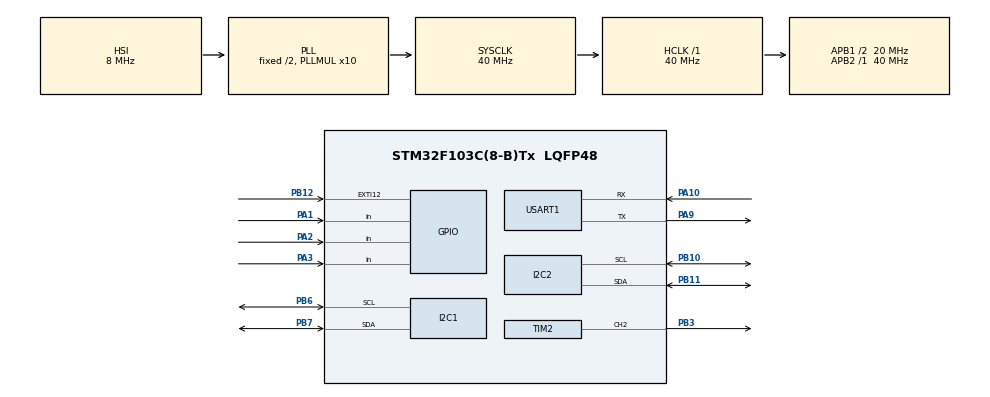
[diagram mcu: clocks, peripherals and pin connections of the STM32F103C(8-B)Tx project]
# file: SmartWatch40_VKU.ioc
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Mcu.Family=STM32F1
Mcu.Name=STM32F103C(8-B)Tx
Mcu.Package=LQFP48
NVIC.EXTI15_10_IRQn=true\:1\:0\:true\:false\:true\:true\:true\:true
NVIC.PriorityGroup=NVIC_PRIORITYGROUP_4
NVIC.USART1_IRQn=true\:2\:0\:true\:false\:true\:true\:true\:true
PA1.GPIO_PuPd=GPIO_PULLUP
PA1.Signal=GPIO_Input
PA10.Mode=Asynchronous
PA10.Signal=USART1_RX
PA13.Mode=Serial_Wire
PA13.Signal=SYS_JTMS-SWDIO
PA14.Mode=Serial_Wire
PA14.Signal=SYS_JTCK-SWCLK
PA2.GPIO_PuPd=GPIO_PULLUP
PA2.Signal=GPIO_Input
PA3.GPIO_PuPd=GPIO_PULLUP
PA3.Signal=GPIO_Input
PA9.Mode=Asynchronous
PA9.Signal=USART1_TX
PB10.Mode=I2C
PB10.Signal=I2C2_SCL
PB11.Mode=I2C
PB11.Signal=I2C2_SDA
PB12.GPIO_ModeDefaultEXTI=GPIO_MODE_IT_FALLING
PB12.GPIO_PuPd=GPIO_PULLUP
PB12.Signal=GPXTI12
PB3.Signal=S_TIM2_CH2
PB6.Mode=I2C
PB6.Signal=I2C1_SCL
PB7.Mode=I2C
PB7.Signal=I2C1_SDA
PD0-OSC_IN.Mode=HSE-External-Oscillator
PD0-OSC_IN.Signal=RCC_OSC_IN
PD1-OSC_OUT.Mode=HSE-External-Oscillator
PD1-OSC_OUT.Signal=RCC_OSC_OUT
ProjectManager.HeapSize=0x200
ProjectManager.StackSize=0x400
ProjectManager.TargetToolchain=STM32CubeIDE
RCC.AHBFreq_Value=40000000
RCC.APB1CLKDivider=RCC_HCLK_DIV2
RCC.APB1Freq_Value=20000000
RCC.APB1TimFreq_Value=40000000
RCC.APB2Freq_Value=40000000
RCC.APB2TimFreq_Value=40000000
RCC.HCLKFreq_Value=40000000
RCC.PLLMUL=RCC_PLL_MUL10
RCC.SYSCLKFreq_VALUE=40000000
RCC.SYSCLKSource=RCC_SYSCLKSOURCE_PLLCLK
RCC.USBFreq_Value=40000000
SH.S_TIM2_CH2.0=TIM2_CH2,PWM Generation2 CH2
TIM2.Channel-PWM\ Generation2\ CH2=TIM_CHANNEL_2
TIM2.Period=999
TIM2.Pulse-PWM\ Generation2\ CH2=500
USART1.VirtualMode=VM_ASYNC
VP_TIM2_VS_ClockSourceINT.Mode=Internal
board=custom

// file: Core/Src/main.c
/* USER CODE BEGIN Header */
/**
  ******************************************************************************
  * @file           : main.c
  * @brief          : Main program body
  ******************************************************************************
  * @attention
  *
  * Copyright (c) 2025 STMicroelectronics.
  * All rights reserved.
  *
  * This software is licensed under terms that can be found in the LICENSE file
  * in the root directory of this software component.
  * If no LICENSE file comes with this software, it is provided AS-IS.
  *
  ******************************************************************************
  */
/* USER CODE END Header */
#include "main.h"

/* USER CODE BEGIN Includes */

#include "LCD_I2C.h"
#include "DS3231.h"
#include "BUZZER.h"
#include "Custom_String.h"
#include <stdio.h>

/* USER CODE END Includes */

/* USER CODE BEGIN PTD */

typedef enum
{
	SUN = 1,
	MON,
	TUE,
	WED,
	THU,
	FRI,
	SAT
} Day;

typedef enum
{
	STATE_DISPLAY,
	STATE_SET_HOUR,
	STATE_SET_MINUTE,
	STATE_SET_SECOND,
	STATE_SET_YEAR,
	STATE_SET_MONTH,
	STATE_SET_DATE,
	STATE_SET_DAY,
	STATE_SET_HOUR_ALARM,
	STATE_SET_MINUTE_ALARM,
	STATE_SET_MODE_ALARM
} ClockState;

typedef enum
{
	OFF_ALARM,
	ON_ALARM
} ModeAlarm;

/* USER CODE END PTD */

/* USER CODE BEGIN PD */

#define PRESS_BUTTON			GPIO_PIN_RESET
#define RELEASE_BUTTON 			GPIO_PIN_SET

#define BUTTON_INCREASE 		GPIO_PIN_1
#define BUTTON_REDUCE 			GPIO_PIN_2
#define BUTTON_MODE 			GPIO_PIN_3

#define MAX_HOUR 	23
#define MIN_HOUR	0
#define MAX_MINUTE 	59
#define MIN_MINUTE	0
#define MAX_SECOND 	59
#define MIN_SECOND	0
#define MAX_YEAR 	99
#define MIN_YEAR 	0
#define MAX_MONTH	12
#define MIN_MONTH	1
#define MIN_DATE	1

#define TIMEOUT_ALARM 		60000
#define TIME_WAITING 		5000
#define ALARM_DELAY_TIME 	5000
#define BACKLIGH_WAITING 	10000

#define RX_BUFFER_SIZE 25

/* USER CODE END PD */

I2C_HandleTypeDef hi2c1;
I2C_HandleTypeDef hi2c2;

TIM_HandleTypeDef htim2;

UART_HandleTypeDef huart1;

/* USER CODE BEGIN PV */

// Create Object
DS3231_DateTime_t DS3231_Time;
DS3231_DateTime_t DS3231_Date;
DS3231_Alarm2_t DS3231_Alarm;

const char *dayOfWeek[] = {"---", "SUN", "MON", "TUE", "WED", "THU", "FRI", "SAT"};
const char *modeAlarm[] = {"OFF", "ON "};

const uint16_t alarmMelody1[] = {
    NOTE_C6, NOTE_C6, NOTE_G5, NOTE_G5,
    NOTE_A5, NOTE_A5, NOTE_G5,
    0,
    NOTE_F5, NOTE_F5, NOTE_E5, NOTE_E5,
    NOTE_D5, NOTE_D5, NOTE_C5
};

const uint16_t alarmMelody2[] = {
    NOTE_C6, NOTE_E6, NOTE_G6, NOTE_C7,
    NOTE_B6, NOTE_G6, NOTE_E6, NOTE_C6,
    NOTE_E6, NOTE_G6, NOTE_C7, NOTE_E7
};

// String constrain time and data display
char timeDisplay[17];
char dateDisplay[20];
char alarmDisplay[17];

uint8_t hourBuffer, minuteBuffer, secondBuffer;
Day dayBuffer;
uint8_t dateBuffer, monthBuffer, yearBuffer;
uint8_t hourAlarmBuffer, minuteAlarmBuffer;
uint8_t checkAlarmStatus;

uint8_t flagAlarm;
uint32_t alarmStartTime;

ClockState currentClock = STATE_DISPLAY;

uint8_t flagUpdateTimeOnInternet = 0;
uint8_t rxByte = 0;
char rxBuffer[RX_BUFFER_SIZE] = {0};
uint8_t rxBufferIndex = 0;

/* USER CODE END PV */

void SystemClock_Config(void);
static void MX_GPIO_Init(void);
static void MX_I2C1_Init(void);
static void MX_I2C2_Init(void);
static void MX_TIM2_Init(void);
static void MX_USART1_UART_Init(void);
/* USER CODE BEGIN PFP */

// ------- ALARM SOUND ----------
void playAlarmMelody1(void);
void playAlarmMelody2(void);
void alarmSound(void);

//------- Leap Year Handling --------
uint8_t LeapYearHandling(uint8_t year);
uint8_t daysInMonth(uint8_t month, uint16_t year);

//------- Mode Alarm Handling ----------
void ModeAlarmHandling(uint8_t checkAlarmStatus);

//------- State Handler Functions -------
void DisplayClockHandler(void);
void SetHourHandler(void);
void SetMinuteHandler(void);
void SetSecondHandler(void);
void SetYearHandler(void);
void SetMonthHandler(void);
void SetDateHandler(void);
void SetDayHandler(void);
void SetHourAlarmHandler(void);
void SetMinuteAlarmHandler(void);
void SetModeAlarmHandler(void);

// ------- Handle Clock State Machine --------
void HandleClockStateMachine(void);

// ------- Energy Saving Processing -----------
void EnergySavingProcessing(void);

// ------- Handling when there is an alarm -------
void AlarmProcessing(void);

// -------------------
void parseInternetTimeString(const char* rxBuffer, uint8_t* hour, uint8_t* minute, uint8_t* second, uint8_t* weekDay, uint8_t* date, uint8_t* month, uint8_t* year)
{
	char weekDayStr[4];
    uint8_t idx = 0;
    uint8_t weekdayIndex = 0;

    // Parse hour
    while ('0' <= rxBuffer[idx] && rxBuffer[idx] <= '9')
    {
        *hour = *hour * 10 + (rxBuffer[idx] - '0');
        idx++;
    }

    if (rxBuffer[idx] == ':') idx++;

    // Parse minute
    while ('0' <= rxBuffer[idx] && rxBuffer[idx] <= '9')
    {
        *minute = *minute * 10 + (rxBuffer[idx] - '0');
        idx++;
    }

    if (rxBuffer[idx] == ':') idx++;

    // Parse second
    while ('0' <= rxBuffer[idx] && rxBuffer[idx] <= '9')
    {
        *second = *second * 10 + (rxBuffer[idx] - '0');
        idx++;
    }

    if (rxBuffer[idx] == '-') idx++;

    // Parse weekday
    while (rxBuffer[idx] != '-' && rxBuffer[idx] != '\0' && weekdayIndex < 3)
    {
    	weekDayStr[weekdayIndex] = rxBuffer[idx];
        idx++;
        weekdayIndex++;
    }
    weekDayStr[weekdayIndex] = '\0';

    if (rxBuffer[idx] == '-') idx++;

    // Parse day
    while ('0' <= rxBuffer[idx] && rxBuffer[idx] <= '9')
    {
        *date = *date * 10 + (rxBuffer[idx] - '0');
        idx++;
    }

    if (rxBuffer[idx] == '/') idx++;

    // Parse month
    while ('0' <= rxBuffer[idx] && rxBuffer[idx] <= '9')
    {
        *month = *month * 10 + (rxBuffer[idx] - '0');
        idx++;
    }

    if (rxBuffer[idx] == '/') idx++;

    // Parse year
    while ('0' <= rxBuffer[idx] && rxBuffer[idx] <= '9')
    {
        *year = *year * 10 + (rxBuffer[idx] - '0');
        idx++;
    }

    if (strCompare(weekDayStr, "SUN")) *weekDay = SUN;
    else if (strCompare(weekDayStr, "MON")) *weekDay = MON;
    else if (strCompare(weekDayStr, "TUE")) *weekDay = TUE;
    else if (strCompare(weekDayStr, "WED")) *weekDay = WED;
    else if (strCompare(weekDayStr, "THU")) *weekDay = THU;
    else if (strCompare(weekDayStr, "FRI")) *weekDay = FRI;
    else if (strCompare(weekDayStr, "SAT")) *weekDay = SAT;
}

void TimeInternetUpdateHandling(void)
{
	while (flagUpdateTimeOnInternet)
	{
		LCD_backlight_on();

	    uint8_t netHour = 0, netMinute = 0, netSecond = 0;
	    uint8_t netWeekday = 0, netDate = 0, netMonth = 0, netYear = 0;

	    parseInternetTimeString(rxBuffer, &netHour, &netMinute, &netSecond, &netWeekday, &netDate, &netMonth, &netYear);

        DS3231_SetTime(&DS3231_Time, netHour, netMinute, netSecond);			// Chốt Giờ-phút-giây
        DS3231_SetDate(&DS3231_Date, netWeekday, netDate, netMonth, netYear);	// Chốt ngày-ngày-tháng-năm

	    LCD_goto_XY(1, 2);
	    LCD_send_string("TIME UPDATED");
	    LCD_goto_XY(2, 2);
	    LCD_send_string("SUCCESSFULLY");

	    HAL_Delay(2000);

	    LCD_clear_display();
	    HAL_Delay(40);

	    flagUpdateTimeOnInternet = 0;

	    break;
	}
}

/* USER CODE END PFP */

/* USER CODE BEGIN 0 */

// Perform an alarm if an interrupt signal occurs
void HAL_GPIO_EXTI_Callback(uint16_t GPIO_Pin)
{
	flagAlarm = 1;

	LCD_clear_display();
	alarmStartTime = HAL_GetTick();

    DS3231_ClearnFlagAlarm2(&hi2c1);	// CLear Flag Alarm DS3231
}

// Nhận UART
void HAL_UART_RxCpltCallback(UART_HandleTypeDef *huart)
{
    if (rxByte != '\r' && rxByte != '\n') // Loại bỏ ký tự '\r' và '\n'
    {
        rxBuffer[rxBufferIndex] = rxByte;
        rxBufferIndex++;

        if (rxBufferIndex == RX_BUFFER_SIZE)
        {
            rxBufferIndex = 0;
        }
    }
    else if (rxByte == '\r')
    {
        rxBuffer[rxBufferIndex] = '\0'; // Kết thúc chuỗi khi nhận '\r'

        rxBufferIndex = 0; // Reset chỉ số bộ đệm

        flagUpdateTimeOnInternet = 1; // nhận chuỗi đủ rồi bật cờ update lên
        LCD_clear_display(); // Xóa màn hình
    }

    // Tiếp tục nhận byte tiếp theo
    HAL_UART_Receive_IT(&huart1, &rxByte, 1);
}

/* USER CODE END 0 */

int main(void)
{

  /* MCU Configuration--------------------------------------------------------*/

  /* Reset of all peripherals, Initializes the Flash interface and the Systick. */
  HAL_Init();

  /* Configure the system clock */
  SystemClock_Config();

  /* Initialize all configured peripherals */
  MX_GPIO_Init();
  MX_I2C1_Init();
  MX_I2C2_Init();
  MX_TIM2_Init();
  MX_USART1_UART_Init();
  /* USER CODE BEGIN 2 */
  HAL_Delay(2000); // Cho LCD hoặc DS3231 ổn định nguồn

  HAL_TIM_PWM_Start(&htim2, TIM_CHANNEL_2);

  HAL_UART_Receive_IT(&huart1, &rxByte, 1);

  LCD_Init();
  LCD_backlight_on();
  HAL_Delay(500);

  DS3231_DateTime_Init(&hi2c1, &DS3231_Time);
  DS3231_DateTime_Init(&hi2c1, &DS3231_Date);
  DS3231_Alarm2_Init(&hi2c1, &DS3231_Alarm);
  HAL_Delay(500);
  // Get current time in DS3231 for setting
  DS3231_GetTime(&DS3231_Time);
  hourBuffer = DS3231_Time.Hour;
  minuteBuffer = DS3231_Time.Minutes;
  secondBuffer = DS3231_Time.Seconds;

  // Get current date in DS3231 for setting
  DS3231_GetDate(&DS3231_Date);
  dayBuffer = DS3231_Date.Day;
  dateBuffer = DS3231_Date.Date;
  monthBuffer = DS3231_Date.Month;
  yearBuffer = DS3231_Date.Year;

  // Get current alarm in DS3231 for setting
  DS3231_GetAlarm2(&DS3231_Alarm);
  hourAlarmBuffer = DS3231_Alarm.Hour;
  minuteAlarmBuffer = DS3231_Alarm.Minutes;

  // Get current mode alarm in DS3231 for setting
  checkAlarmStatus = DS3231_CheckModeAlarm2(&hi2c1);

  /* USER CODE END 2 */

  /* Infinite loop */
  while (1)
  {

    /* USER CODE BEGIN 3 */

	  HandleClockStateMachine();

	  HAL_Delay(100);

	  EnergySavingProcessing();

	  AlarmProcessing();

	  TimeInternetUpdateHandling();

  }
  /* USER CODE END 3 */
}

void SystemClock_Config(void)
{
  RCC_OscInitTypeDef RCC_OscInitStruct = {0};
  RCC_ClkInitTypeDef RCC_ClkInitStruct = {0};

  /** Initializes the RCC Oscillators according to the specified parameters
  * in the RCC_OscInitTypeDef structure.
  */
  RCC_OscInitStruct.OscillatorType = RCC_OSCILLATORTYPE_HSI;
  RCC_OscInitStruct.HSIState = RCC_HSI_ON;
  RCC_OscInitStruct.HSICalibrationValue = RCC_HSICALIBRATION_DEFAULT;
  RCC_OscInitStruct.PLL.PLLState = RCC_PLL_ON;
  RCC_OscInitStruct.PLL.PLLSource = RCC_PLLSOURCE_HSI_DIV2;
  RCC_OscInitStruct.PLL.PLLMUL = RCC_PLL_MUL10;
  if (HAL_RCC_OscConfig(&RCC_OscInitStruct) != HAL_OK)
  {
    Error_Handler();
  }

  /** Initializes the CPU, AHB and APB buses clocks
  */
  RCC_ClkInitStruct.ClockType = RCC_CLOCKTYPE_HCLK|RCC_CLOCKTYPE_SYSCLK
                              |RCC_CLOCKTYPE_PCLK1|RCC_CLOCKTYPE_PCLK2;
  RCC_ClkInitStruct.SYSCLKSource = RCC_SYSCLKSOURCE_PLLCLK;
  RCC_ClkInitStruct.AHBCLKDivider = RCC_SYSCLK_DIV1;
  RCC_ClkInitStruct.APB1CLKDivider = RCC_HCLK_DIV2;
  RCC_ClkInitStruct.APB2CLKDivider = RCC_HCLK_DIV1;

  if (HAL_RCC_ClockConfig(&RCC_ClkInitStruct, FLASH_LATENCY_1) != HAL_OK)
  {
    Error_Handler();
  }
}

static void MX_I2C1_Init(void)
{

  hi2c1.Instance = I2C1;
  hi2c1.Init.ClockSpeed = 100000;
  hi2c1.Init.DutyCycle = I2C_DUTYCYCLE_2;
  hi2c1.Init.OwnAddress1 = 0;
  hi2c1.Init.AddressingMode = I2C_ADDRESSINGMODE_7BIT;
  hi2c1.Init.DualAddressMode = I2C_DUALADDRESS_DISABLE;
  hi2c1.Init.OwnAddress2 = 0;
  hi2c1.Init.GeneralCallMode = I2C_GENERALCALL_DISABLE;
  hi2c1.Init.NoStretchMode = I2C_NOSTRETCH_DISABLE;
  if (HAL_I2C_Init(&hi2c1) != HAL_OK)
  {
    Error_Handler();
  }

}

static void MX_I2C2_Init(void)
{

  hi2c2.Instance = I2C2;
  hi2c2.Init.ClockSpeed = 100000;
  hi2c2.Init.DutyCycle = I2C_DUTYCYCLE_2;
  hi2c2.Init.OwnAddress1 = 0;
  hi2c2.Init.AddressingMode = I2C_ADDRESSINGMODE_7BIT;
  hi2c2.Init.DualAddressMode = I2C_DUALADDRESS_DISABLE;
  hi2c2.Init.OwnAddress2 = 0;
  hi2c2.Init.GeneralCallMode = I2C_GENERALCALL_DISABLE;
  hi2c2.Init.NoStretchMode = I2C_NOSTRETCH_DISABLE;
  if (HAL_I2C_Init(&hi2c2) != HAL_OK)
  {
    Error_Handler();
  }

}

static void MX_TIM2_Init(void)
{

  TIM_ClockConfigTypeDef sClockSourceConfig = {0};
  TIM_MasterConfigTypeDef sMasterConfig = {0};
  TIM_OC_InitTypeDef sConfigOC = {0};

  htim2.Instance = TIM2;
  htim2.Init.Prescaler = 0;
  htim2.Init.CounterMode = TIM_COUNTERMODE_UP;
  htim2.Init.Period = 999;
  htim2.Init.ClockDivision = TIM_CLOCKDIVISION_DIV1;
  htim2.Init.AutoReloadPreload = TIM_AUTORELOAD_PRELOAD_DISABLE;
  if (HAL_TIM_Base_Init(&htim2) != HAL_OK)
  {
    Error_Handler();
  }
  sClockSourceConfig.ClockSource = TIM_CLOCKSOURCE_INTERNAL;
  if (HAL_TIM_ConfigClockSource(&htim2, &sClockSourceConfig) != HAL_OK)
  {
    Error_Handler();
  }
  if (HAL_TIM_PWM_Init(&htim2) != HAL_OK)
  {
    Error_Handler();
  }
  sMasterConfig.MasterOutputTrigger = TIM_TRGO_RESET;
  sMasterConfig.MasterSlaveMode = TIM_MASTERSLAVEMODE_DISABLE;
  if (HAL_TIMEx_MasterConfigSynchronization(&htim2, &sMasterConfig) != HAL_OK)
  {
    Error_Handler();
  }
  sConfigOC.OCMode = TIM_OCMODE_PWM1;
  sConfigOC.Pulse = 700;
  sConfigOC.OCPolarity = TIM_OCPOLARITY_HIGH;
  sConfigOC.OCFastMode = TIM_OCFAST_DISABLE;
  if (HAL_TIM_PWM_ConfigChannel(&htim2, &sConfigOC, TIM_CHANNEL_2) != HAL_OK)
  {
    Error_Handler();
  }
  HAL_TIM_MspPostInit(&htim2);

}

static void MX_USART1_UART_Init(void)
{

  huart1.Instance = USART1;
  huart1.Init.BaudRate = 115200;
  huart1.Init.WordLength = UART_WORDLENGTH_8B;
  huart1.Init.StopBits = UART_STOPBITS_1;
  huart1.Init.Parity = UART_PARITY_NONE;
  huart1.Init.Mode = UART_MODE_TX_RX;
  huart1.Init.HwFlowCtl = UART_HWCONTROL_NONE;
  huart1.Init.OverSampling = UART_OVERSAMPLING_16;
  if (HAL_UART_Init(&huart1) != HAL_OK)
  {
    Error_Handler();
  }

}

static void MX_GPIO_Init(void)
{
  GPIO_InitTypeDef GPIO_InitStruct = {0};

  /* GPIO Ports Clock Enable */
  __HAL_RCC_GPIOD_CLK_ENABLE();
  __HAL_RCC_GPIOA_CLK_ENABLE();
  __HAL_RCC_GPIOB_CLK_ENABLE();

  /*Configure GPIO pins : PA1 PA2 PA3 */
  GPIO_InitStruct.Pin = GPIO_PIN_1|GPIO_PIN_2|GPIO_PIN_3;
  GPIO_InitStruct.Mode = GPIO_MODE_INPUT;
  GPIO_InitStruct.Pull = GPIO_PULLUP;
  HAL_GPIO_Init(GPIOA, &GPIO_InitStruct);

  /*Configure GPIO pin : PB12 */
  GPIO_InitStruct.Pin = GPIO_PIN_12;
  GPIO_InitStruct.Mode = GPIO_MODE_IT_FALLING;
  GPIO_InitStruct.Pull = GPIO_PULLUP;
  HAL_GPIO_Init(GPIOB, &GPIO_InitStruct);

  /* EXTI interrupt init*/
  HAL_NVIC_SetPriority(EXTI15_10_IRQn, 1, 0);
  HAL_NVIC_EnableIRQ(EXTI15_10_IRQn);

}

/* USER CODE BEGIN 4 */

/**
  * @brief Alarm tone storage
  */
void playAlarmMelody1(void) {
  for (uint8_t i = 0; i < sizeof(alarmMelody1) / sizeof(alarmMelody1[0]); i++)
  {
    playTone(alarmMelody1[i], &htim2);
    HAL_Delay(100);
  }
  noTone(&htim2);
}
void playAlarmMelody2(void)
{
	for(uint8_t i = 0; i < sizeof(alarmMelody2) / sizeof(alarmMelody2[0]); i++)
	{
		playTone(alarmMelody2[i], &htim2);
		HAL_Delay(150);
	}
	noTone(&htim2);
}
void alarmSound(void)
{
	  playAlarmMelody1();
	  HAL_Delay(100);
	  playAlarmMelody1();
	  HAL_Delay(100);
	  playAlarmMelody2();
}

/**
  * @brief Determines the number of days in a given month and year.
  *        - Returns 31 for months with 31 days (January, March, May, July, August, October, December).
  *        - Returns 30 for months with 30 days (April, June, September, November).
  *        - Returns 28 or 29 for February depending on whether the year is a leap year.
  * @param month: The month (1-12).
  * @param year: The year (e.g., 2023).
  * @retval The number of days in the specified month.
  */
uint8_t LeapYearHandling(uint8_t year)
{
	return ((year % 4 == 0 && year % 100 != 0) || (year % 400 == 0));
}
uint8_t daysInMonth(uint8_t month, uint16_t year)
{
    switch (month)
    {
        case 1: case 3: case 5: case 7: case 8: case 10: case 12:
            return 31;
        case 4: case 6: case 9: case 11:
            return 30;
        case 2:
            return LeapYearHandling(year) ? 29 : 28;
        default:
            return 0;
    }
}

/**
  * @brief Enable or disable the alarm mode of the DS3231 clock.
  * @param checkAlarmStatus: Alarm control status.
  * 		- ON_ALARM: Turn on Alarm2.
  * 		- OFF_ALARM: Turn off Alarm2.
  */
void ModeAlarmHandling(uint8_t checkAlarmStatus)
{
	if (checkAlarmStatus == ON_ALARM)
	{
		DS3231_EnOrDisAlarm2(&hi2c1, EnableAlarm2);
	}
	else
	{
		DS3231_EnOrDisAlarm2(&hi2c1, DisableAlarm2);
	}
}

/**
  * @brief Display Hour - Minute - Second & Day - Date - Month - Year in the clock state machine.
  * 		- Get data form DS3231
  */
void DisplayClockHandler(void)
{
	DS3231_GetTime(&DS3231_Time);
	sprintf(timeDisplay, "%02d:%02d:%02d", DS3231_Time.Hour, DS3231_Time.Minutes, DS3231_Time.Seconds);
	LCD_goto_XY(1, 4);
	LCD_send_string(timeDisplay);

	DS3231_GetDate(&DS3231_Date);
	sprintf(dateDisplay, "%s %02d/%02d/20%02d", dayOfWeek[DS3231_Date.Day], DS3231_Date.Date, DS3231_Date.Month, DS3231_Date.Year);
	LCD_goto_XY(2, 1);
	LCD_send_string(dateDisplay);
}

/**
  * @brief Handles the Hour adjustment in the clock state machine.
  * 		- Press BUTTON_INCREASE the Hour value will increase by 1
  * 		- Press BUTTON_REDUCE the Hour value will reduce by 1
  * 		- The Hour value 0 -> 23
  */
void SetHourHandler(void)
{
    sprintf(timeDisplay, "%02d:%02d:%02d", hourBuffer, minuteBuffer, secondBuffer);
    LCD_goto_XY(1, 4);
    LCD_send_string(timeDisplay);

	LCD_goto_XY(2, 1);
	sprintf(dateDisplay, "20%02d/%02d/%02d %s", yearBuffer, monthBuffer, dateBuffer, dayOfWeek[dayBuffer]);
	LCD_send_string(dateDisplay);

    LCD_goto_XY(1, 5);
    LCD_blink_cursor_on();

    if (HAL_GPIO_ReadPin(GPIOA, BUTTON_INCREASE) == PRESS_BUTTON)
    {
        HAL_Delay(40);
        while(HAL_GPIO_ReadPin(GPIOA, BUTTON_INCREASE) == PRESS_BUTTON);

        hourBuffer++;
        if (hourBuffer > MAX_HOUR)
        {
            hourBuffer = MIN_HOUR;
        }
        LCD_blink_cursor_off();
    }

    if (HAL_GPIO_ReadPin(GPIOA, BUTTON_REDUCE) == PRESS_BUTTON)
    {
        HAL_Delay(40);
        while(HAL_GPIO_ReadPin(GPIOA, BUTTON_REDUCE) == PRESS_BUTTON);

        if (hourBuffer == MIN_HOUR)
        {
        	hourBuffer = MAX_HOUR;
        }
        else
        {
        	hourBuffer--;
        }

        LCD_blink_cursor_off();
    }
}

/**
  * @brief Handles the Minute adjustment in the clock state machine.
  * 		- Press BUTTON_INCREASE the Minute value will increase by 1
  * 		- Press BUTTON_REDUCE the Minute value will reduce by 1
  * 		- The Minute value 0 -> 59
  */
void SetMinuteHandler(void)
{
    sprintf(timeDisplay, "%02d:%02d:%02d", hourBuffer, minuteBuffer, secondBuffer);
    LCD_goto_XY(1, 4);
    LCD_send_string(timeDisplay);

	LCD_goto_XY(2, 1);
	sprintf(dateDisplay, "20%02d/%02d/%02d %s", yearBuffer, monthBuffer, dateBuffer, dayOfWeek[dayBuffer]);
	LCD_send_string(dateDisplay);

    LCD_goto_XY(1, 8);
    LCD_blink_cursor_on();

    if (HAL_GPIO_ReadPin(GPIOA, BUTTON_INCREASE) == PRESS_BUTTON)
    {
        HAL_Delay(40);
        while(HAL_GPIO_ReadPin(GPIOA, BUTTON_INCREASE) == PRESS_BUTTON);

        minuteBuffer++;
        if (minuteBuffer > MAX_MINUTE)
        {
        	minuteBuffer = MIN_MINUTE;
        }
        LCD_blink_cursor_off();
    }

    if (HAL_GPIO_ReadPin(GPIOA, BUTTON_REDUCE) == PRESS_BUTTON)
    {
        HAL_Delay(40);
        while(HAL_GPIO_ReadPin(GPIOA, BUTTON_REDUCE) == PRESS_BUTTON);
    	if (minuteBuffer == MIN_MINUTE)
    	{
    		minuteBuffer = MAX_MINUTE;
    	}
    	else
    	{
    		minuteBuffer--;
    	}

    	LCD_blink_cursor_off();
    }
}

/**
  * @brief Handles the Second adjustment in the clock state machine.
  * 		- Press BUTTON_INCREASE the Second value will increase by 1
  * 		- Press BUTTON_REDUCE the Second value will reduce by 1
  * 		- The Second value 0 -> 59
  */
void SetSecondHandler(void)
{
    sprintf(timeDisplay, "%02d:%02d:%02d", hourBuffer, minuteBuffer, secondBuffer);
    LCD_goto_XY(1, 4);
    LCD_send_string(timeDisplay);

	LCD_goto_XY(2, 1);
	sprintf(dateDisplay, "20%02d/%02d/%02d %s", yearBuffer, monthBuffer, dateBuffer, dayOfWeek[dayBuffer]);
	LCD_send_string(dateDisplay);

    LCD_goto_XY(1, 11);
    LCD_blink_cursor_on();

    if (HAL_GPIO_ReadPin(GPIOA, BUTTON_INCREASE) == PRESS_BUTTON)
    {
        HAL_Delay(40);
        while(HAL_GPIO_ReadPin(GPIOA, BUTTON_INCREASE) == PRESS_BUTTON);

        secondBuffer++;
        if (secondBuffer > MAX_SECOND)
        {
        	secondBuffer = MIN_SECOND;
        }
        LCD_blink_cursor_off();
    }

    if (HAL_GPIO_ReadPin(GPIOA, BUTTON_REDUCE) == PRESS_BUTTON)
    {
        HAL_Delay(40);
        while(HAL_GPIO_ReadPin(GPIOA, BUTTON_REDUCE) == PRESS_BUTTON);
    	if (secondBuffer == MIN_SECOND)
    	{
    		secondBuffer = MAX_SECOND;
    	}
    	else
    	{
    		secondBuffer--;
    	}

    	LCD_blink_cursor_off();
    }
}

/**
  * @brief Handles the Year adjustment in the clock state machine.
  * 		- Press BUTTON_INCREASE the Year value will increase by 1
  * 		- Press BUTTON_REDUCE the Year value will reduce by 1
  * 		- The Year value 0 -> 99 (+ 2000)
  */
void SetYearHandler(void)
{
    sprintf(timeDisplay, "%02d:%02d:%02d", hourBuffer, minuteBuffer, secondBuffer);
    LCD_goto_XY(1, 4);
    LCD_send_string(timeDisplay);

	LCD_goto_XY(2, 1);
	sprintf(dateDisplay, "20%02d/%02d/%02d %s", yearBuffer, monthBuffer, dateBuffer, dayOfWeek[dayBuffer]);
	LCD_send_string(dateDisplay);

	LCD_goto_XY(2, 4);
	LCD_blink_cursor_on();

    if (HAL_GPIO_ReadPin(GPIOA, BUTTON_INCREASE) == PRESS_BUTTON)
    {
        HAL_Delay(40);
        while(HAL_GPIO_ReadPin(GPIOA, BUTTON_INCREASE) == PRESS_BUTTON);

        yearBuffer++;
        if (yearBuffer > MAX_YEAR)
        {
        	yearBuffer = MIN_YEAR;
        }
        LCD_blink_cursor_off();
    }

    if (HAL_GPIO_ReadPin(GPIOA, BUTTON_REDUCE) == PRESS_BUTTON)
    {
        HAL_Delay(40);
        while(HAL_GPIO_ReadPin(GPIOA, BUTTON_REDUCE) == PRESS_BUTTON);
    	if (yearBuffer == MIN_YEAR)
    	{
    		yearBuffer = MAX_YEAR;
    	}
    	else
    	{
    		yearBuffer--;
    	}

    	LCD_blink_cursor_off();
    }
}

/**
  * @brief Handles the Month adjustment in the clock state machine.
  * 		- Press BUTTON_INCREASE the Month value will increase by 1
  * 		- Press BUTTON_REDUCE the Month value will reduce by 1
  * 		- The Month value 1 -> 12
  */
void SetMonthHandler(void)
{
    sprintf(timeDisplay, "%02d:%02d:%02d", hourBuffer, minuteBuffer, secondBuffer);
    LCD_goto_XY(1, 4);
    LCD_send_string(timeDisplay);

	LCD_goto_XY(2, 1);
	sprintf(dateDisplay, "20%02d/%02d/%02d %s", yearBuffer, monthBuffer, dateBuffer, dayOfWeek[dayBuffer]);
	LCD_send_string(dateDisplay);

	LCD_goto_XY(2, 7);
	LCD_blink_cursor_on();

    if (HAL_GPIO_ReadPin(GPIOA, BUTTON_INCREASE) == PRESS_BUTTON)
    {
        HAL_Delay(40);
        while(HAL_GPIO_ReadPin(GPIOA, BUTTON_INCREASE) == PRESS_BUTTON);

        monthBuffer++;
        if (monthBuffer > MAX_MONTH)
        {
        	monthBuffer = MIN_MONTH;
        }

        LCD_blink_cursor_off();
    }

    if (HAL_GPIO_ReadPin(GPIOA, BUTTON_REDUCE) == PRESS_BUTTON)
    {
        HAL_Delay(40);
        while(HAL_GPIO_ReadPin(GPIOA, BUTTON_REDUCE) == PRESS_BUTTON);
    	if (monthBuffer == MIN_MONTH)
    	{
    		monthBuffer = MAX_MONTH;
    	}
    	else
    	{
    		monthBuffer--;
    	}
    	LCD_blink_cursor_off();
    }
}

/**
  * @brief Handles the Date adjustment in the clock state machine.
  * 		- Press BUTTON_INCREASE the Date value will increase by 1
  * 		- Press BUTTON_REDUCE the Date value will reduce by 1
  * 		- The Date value 1 -> 31 or 30 or 28 or 29
  */
void SetDateHandler(void)
{
    sprintf(timeDisplay, "%02d:%02d:%02d", hourBuffer, minuteBuffer, secondBuffer);
    LCD_goto_XY(1, 4);
    LCD_send_string(timeDisplay);

	LCD_goto_XY(2, 1);
	sprintf(dateDisplay, "20%02d/%02d/%02d %s", yearBuffer, monthBuffer, dateBuffer, dayOfWeek[dayBuffer]);
	LCD_send_string(dateDisplay);

	LCD_goto_XY(2, 10);
	LCD_blink_cursor_on();

	uint8_t MAX_DATE = daysInMonth(monthBuffer, 2000 + yearBuffer);

	if (HAL_GPIO_ReadPin(GPIOA, BUTTON_INCREASE) == PRESS_BUTTON)
	{
		HAL_Delay(40);
		while (HAL_GPIO_ReadPin(GPIOA, BUTTON_INCREASE) == PRESS_BUTTON);

		dateBuffer++;
		if (dateBuffer > MAX_DATE)
		{
			dateBuffer = MIN_DATE;
		}

		LCD_blink_cursor_off();
	}

	if (HAL_GPIO_ReadPin(GPIOA, BUTTON_REDUCE) == PRESS_BUTTON)
	{
		HAL_Delay(40);
		while (HAL_GPIO_ReadPin(GPIOA, BUTTON_REDUCE) == PRESS_BUTTON);

		if (dateBuffer == MIN_DATE)
		{
			dateBuffer = MAX_DATE;
		}
		else
		{
			dateBuffer--;
		}

		LCD_blink_cursor_off();
	}
}

/**
  * @brief Handles the Day adjustment in the clock state machine.
  * 		- Press BUTTON_INCREASE the Day value will increase by 1
  * 		- Press BUTTON_REDUCE the Day value will reduce by 1
  * 		- The Day value in Day (enum)
  */
void SetDayHandler(void)
{
    sprintf(timeDisplay, "%02d:%02d:%02d", hourBuffer, minuteBuffer, secondBuffer);
    LCD_goto_XY(1, 4);
    LCD_send_string(timeDisplay);

	LCD_goto_XY(2, 1);
	sprintf(dateDisplay, "20%02d/%02d/%02d %s", yearBuffer, monthBuffer, dateBuffer, dayOfWeek[dayBuffer]);
	LCD_send_string(dateDisplay);

	LCD_goto_XY(2, 14);
	LCD_blink_cursor_on();

    if (HAL_GPIO_ReadPin(GPIOA, BUTTON_INCREASE) == PRESS_BUTTON)
    {
        HAL_Delay(40);
        while(HAL_GPIO_ReadPin(GPIOA, BUTTON_INCREASE) == PRESS_BUTTON);

        dayBuffer++;
        if (dayBuffer > SAT)
        {
        	dayBuffer = SUN;
        }

        LCD_blink_cursor_off();
    }

    if (HAL_GPIO_ReadPin(GPIOA, BUTTON_REDUCE) == PRESS_BUTTON)
    {
        HAL_Delay(40);
        while(HAL_GPIO_ReadPin(GPIOA, BUTTON_REDUCE) == PRESS_BUTTON);
    	if (dayBuffer == SUN)
    	{
    		dayBuffer = SAT;
    	}
    	else
    	{
    		dayBuffer--;
    	}
    	LCD_blink_cursor_off();
    }
}

/**
  * @brief Handles the Alarm Hour adjustment in the clock state machine.
  * 		- Press BUTTON_INCREASE the Alarm Hour value will increase by 1
  * 		- Press BUTTON_REDUCE the Alarm Hour value will reduce by 1
  * 		- The Hour value 0 -> 23
  */
void SetHourAlarmHandler(void)
{
	LCD_goto_XY(1, 3);
	LCD_send_string("ALARM MODE");
	LCD_goto_XY(2, 3);
	sprintf(alarmDisplay, "%02d:%02d  %s", hourAlarmBuffer, minuteAlarmBuffer, modeAlarm[checkAlarmStatus]);
	LCD_send_string(alarmDisplay);

    LCD_goto_XY(2, 4);
    LCD_blink_cursor_on();

    if (HAL_GPIO_ReadPin(GPIOA, BUTTON_INCREASE) == PRESS_BUTTON)
    {
        HAL_Delay(40);
        while(HAL_GPIO_ReadPin(GPIOA, BUTTON_INCREASE) == PRESS_BUTTON);

        hourAlarmBuffer++;
        if (hourAlarmBuffer > MAX_HOUR)
        {
        	hourAlarmBuffer = MIN_HOUR;
        }
        LCD_blink_cursor_off();
    }

    if (HAL_GPIO_ReadPin(GPIOA, BUTTON_REDUCE) == PRESS_BUTTON)
    {
        HAL_Delay(40);
        while(HAL_GPIO_ReadPin(GPIOA, BUTTON_REDUCE) == PRESS_BUTTON);

        if (hourAlarmBuffer == MIN_HOUR)
        {
        	hourAlarmBuffer = MAX_HOUR;
        }
        else
        {
        	hourAlarmBuffer--;
        }

        LCD_blink_cursor_off();
    }
}

/**
  * @brief Handles the Alarm Minute adjustment in the clock state machine.
  * 		- Press BUTTON_INCREASE the Minute value will increase by 1
  * 		- Press BUTTON_REDUCE the Minute value will reduce by 1
  * 		- The Alarm Minute value 0 -> 59
  */
void SetMinuteAlarmHandler(void)
{
	LCD_goto_XY(1, 3);
	LCD_send_string("ALARM MODE");
	LCD_goto_XY(2, 3);
	sprintf(alarmDisplay, "%02d:%02d  %s", hourAlarmBuffer, minuteAlarmBuffer, modeAlarm[checkAlarmStatus]);
	LCD_send_string(alarmDisplay);

    LCD_goto_XY(2, 7);
    LCD_blink_cursor_on();

    if (HAL_GPIO_ReadPin(GPIOA, BUTTON_INCREASE) == PRESS_BUTTON)
    {
    	 HAL_Delay(40);
         while(HAL_GPIO_ReadPin(GPIOA, BUTTON_INCREASE) == PRESS_BUTTON);

         minuteAlarmBuffer++;
         if (minuteAlarmBuffer > MAX_MINUTE)
         {
        	 minuteAlarmBuffer = MIN_MINUTE;
         }
         LCD_blink_cursor_off();
     }

     if (HAL_GPIO_ReadPin(GPIOA, BUTTON_REDUCE) == PRESS_BUTTON)
     {
         HAL_Delay(40);
         while(HAL_GPIO_ReadPin(GPIOA, BUTTON_REDUCE) == PRESS_BUTTON);
     	if (minuteAlarmBuffer == MIN_MINUTE)
     	{
     		minuteAlarmBuffer = MAX_MINUTE;
     	}
     	else
     	{
     		minuteAlarmBuffer--;
     	}

     	LCD_blink_cursor_off();
     }
}

/**
  * @brief Handles Alarm Mode adjustment in the clock state machine.
  * 		- Have 2 modes: ON_ALARM or OFF_ALARM
  * 		- Press BUTTON_INCREASE or BUTTON_REDUCE to change the mode
  */
void SetModeAlarmHandler(void)
{
	LCD_goto_XY(1, 3);
	LCD_send_string("ALARM MODE");
	LCD_goto_XY(2, 3);
	sprintf(alarmDisplay, "%02d:%02d  %s", hourAlarmBuffer, minuteAlarmBuffer, modeAlarm[checkAlarmStatus]);
	LCD_send_string(alarmDisplay);

    LCD_goto_XY(2, 10);
    LCD_blink_cursor_on();

    if (HAL_GPIO_ReadPin(GPIOA, BUTTON_INCREASE) == PRESS_BUTTON)
    {
    	 HAL_Delay(40);
         while(HAL_GPIO_ReadPin(GPIOA, BUTTON_INCREASE) == PRESS_BUTTON);

         checkAlarmStatus++;
         if (checkAlarmStatus > ON_ALARM)
         {
        	 checkAlarmStatus = OFF_ALARM;
         }
         ModeAlarmHandling(checkAlarmStatus);
         LCD_blink_cursor_off();
     }

     if (HAL_GPIO_ReadPin(GPIOA, BUTTON_REDUCE) == PRESS_BUTTON)
     {
         HAL_Delay(40);
         while(HAL_GPIO_ReadPin(GPIOA, BUTTON_REDUCE) == PRESS_BUTTON);
         if (checkAlarmStatus == OFF_ALARM)
         {
        	 checkAlarmStatus = ON_ALARM;
         }
         else
         {
        	 checkAlarmStatus--;
         }
         ModeAlarmHandling(checkAlarmStatus);
         LCD_blink_cursor_off();
      }
}

/**
 * @brief  Manages the clock setting state machine.
 * 			- Press BUTTON_MODE to changes status clock
 *
 * @note   This function should be called periodically in the main loop or a task.
 *
 */
void HandleClockStateMachine(void)
{
	switch (currentClock) {
		case STATE_DISPLAY:
			uint32_t currentDisplayMillis = HAL_GetTick();
			static uint32_t previousDisplayMillis = 0;

			if (currentDisplayMillis - previousDisplayMillis >= 1000)
			{
				previousDisplayMillis = currentDisplayMillis;
				DisplayClockHandler();
			}

		    if (HAL_GPIO_ReadPin(GPIOA, BUTTON_MODE) == PRESS_BUTTON)
		    {
		        HAL_Delay(40);
		        while(HAL_GPIO_ReadPin(GPIOA, BUTTON_MODE) == PRESS_BUTTON);
		        currentClock = STATE_SET_HOUR;

		    	// Trước khi cài đặt thì lấy thời gian hiện tại chứ ko phải là thời gian lần đầu lấy ở init();
		    	hourBuffer = DS3231_Time.Hour;
		    	minuteBuffer = DS3231_Time.Minutes;
		    	secondBuffer = DS3231_Time.Seconds;
		        dayBuffer = DS3231_Date.Day;
		        dateBuffer = DS3231_Date.Date;
		        monthBuffer = DS3231_Date.Month;
		        yearBuffer = DS3231_Date.Year;
		    }

			break;

		case STATE_SET_HOUR:
			SetHourHandler();
		    if (HAL_GPIO_ReadPin(GPIOA, BUTTON_MODE) == PRESS_BUTTON)
		    {
		        HAL_Delay(40);
		        while(HAL_GPIO_ReadPin(GPIOA, BUTTON_MODE) == PRESS_BUTTON);
		        currentClock = STATE_SET_MINUTE;
		    }
			break;

		case STATE_SET_MINUTE:
			SetMinuteHandler();
		    if (HAL_GPIO_ReadPin(GPIOA, BUTTON_MODE) == PRESS_BUTTON)
		    {
		        HAL_Delay(40);
		        while(HAL_GPIO_ReadPin(GPIOA, BUTTON_MODE) == PRESS_BUTTON);
		        currentClock = STATE_SET_SECOND;
		    }
			break;

		case STATE_SET_SECOND:
			SetSecondHandler();
		    if (HAL_GPIO_ReadPin(GPIOA, BUTTON_MODE) == PRESS_BUTTON)
		    {
		        HAL_Delay(40);
		        while(HAL_GPIO_ReadPin(GPIOA, BUTTON_MODE) == PRESS_BUTTON);
		        DS3231_SetTime(&DS3231_Time, hourBuffer, minuteBuffer, secondBuffer);	//Chốt Giờ-phút-giây
		        currentClock = STATE_SET_YEAR;
		        // Trước khi set date thì lấy thời gian hiện tại đang chạy cái đã
		        dayBuffer = DS3231_Date.Day;
		        dateBuffer = DS3231_Date.Date;
		        monthBuffer = DS3231_Date.Month;
		        yearBuffer = DS3231_Date.Year;
		    }
			break;

		case STATE_SET_YEAR:
			SetYearHandler();
		    if (HAL_GPIO_ReadPin(GPIOA, BUTTON_MODE) == PRESS_BUTTON)
		    {
		        HAL_Delay(40);
		        while(HAL_GPIO_ReadPin(GPIOA, BUTTON_MODE) == PRESS_BUTTON);
		        currentClock = STATE_SET_MONTH;
		    }
			break;

		case STATE_SET_MONTH:
			SetMonthHandler();
		    if (HAL_GPIO_ReadPin(GPIOA, BUTTON_MODE) == PRESS_BUTTON)
		    {
		        HAL_Delay(40);
		        while(HAL_GPIO_ReadPin(GPIOA, BUTTON_MODE) == PRESS_BUTTON);
		        currentClock = STATE_SET_DATE;
		    }
			break;

		case STATE_SET_DATE:
			SetDateHandler();
		    if (HAL_GPIO_ReadPin(GPIOA, BUTTON_MODE) == PRESS_BUTTON)
		    {
		        HAL_Delay(40);
		        while(HAL_GPIO_ReadPin(GPIOA, BUTTON_MODE) == PRESS_BUTTON);
		        currentClock = STATE_SET_DAY;
		    }
			break;

		case STATE_SET_DAY:
			SetDayHandler();
		    if (HAL_GPIO_ReadPin(GPIOA, BUTTON_MODE) == PRESS_BUTTON)
		    {
		        HAL_Delay(40);
		        while(HAL_GPIO_ReadPin(GPIOA, BUTTON_MODE) == PRESS_BUTTON);
		        DS3231_SetDate(&DS3231_Date, dayBuffer, dateBuffer, monthBuffer, yearBuffer);	// Chốt thứ - ngày - tháng - năm
		        LCD_blink_cursor_off();		// Tắt con trỏ nhấp nháy
		        currentClock = STATE_SET_HOUR_ALARM;
		        LCD_clear_display(); // Xóa trước khi qua set alarm
		    }
			break;

		case STATE_SET_HOUR_ALARM:
			SetHourAlarmHandler();
		    if (HAL_GPIO_ReadPin(GPIOA, BUTTON_MODE) == PRESS_BUTTON)
		    {
		        HAL_Delay(40);
		        while(HAL_GPIO_ReadPin(GPIOA, BUTTON_MODE) == PRESS_BUTTON);
		        LCD_blink_cursor_off();		// Tắt con trỏ nhấp nháy
		        currentClock = STATE_SET_MINUTE_ALARM;
		    }
			break;

		case STATE_SET_MINUTE_ALARM:
			SetMinuteAlarmHandler();
		    if (HAL_GPIO_ReadPin(GPIOA, BUTTON_MODE) == PRESS_BUTTON)
		    {
		        HAL_Delay(40);
		        while(HAL_GPIO_ReadPin(GPIOA, BUTTON_MODE) == PRESS_BUTTON);
		        LCD_blink_cursor_off();		// Tắt con trỏ nhấp nháy
		        currentClock = STATE_SET_MODE_ALARM;
		    }
			break;

		case STATE_SET_MODE_ALARM:
			SetModeAlarmHandler();
		    if (HAL_GPIO_ReadPin(GPIOA, BUTTON_MODE) == PRESS_BUTTON)
		    {
		        HAL_Delay(40);
		        while(HAL_GPIO_ReadPin(GPIOA, BUTTON_MODE) == PRESS_BUTTON);

		        DS3231_SetAlarm2(&DS3231_Alarm, hourAlarmBuffer, minuteAlarmBuffer);
		        LCD_blink_cursor_off();		// Tắt con trỏ nhấp nháy
		        currentClock = STATE_DISPLAY;
		        LCD_clear_display(); // Xóa trước khi qua hiển thị từ đầu
		    }
			break;
	}
}

/**
 * @brief  LCD backlight management.
 * 			- The backlight will turn off when Time 0->5 hour
 * 			- Press BUTTON_INCREASE, BUTTON_REDUCE the backlight will turn on for 10 seconds
 *
 * @note   This function should be called periodically in the main loop or a task.
 *
 */
void EnergySavingProcessing(void)
{
	static uint32_t currentBackLightMillis = 0;
	if ((currentClock == STATE_DISPLAY ) && (0 <= DS3231_Time.Hour && DS3231_Time.Hour < 5) && (HAL_GetTick() - currentBackLightMillis >= BACKLIGH_WAITING))
	{
		LCD_backlight_off();
		if ((HAL_GPIO_ReadPin(GPIOA, BUTTON_INCREASE) == PRESS_BUTTON || HAL_GPIO_ReadPin(GPIOA, BUTTON_REDUCE) == PRESS_BUTTON))
		{
			HAL_Delay(40);
			while ((HAL_GPIO_ReadPin(GPIOA, BUTTON_INCREASE) == PRESS_BUTTON || HAL_GPIO_ReadPin(GPIOA, BUTTON_REDUCE) == PRESS_BUTTON));

			LCD_backlight_on();

			currentBackLightMillis = HAL_GetTick();
		}
	}
	else
	{
		LCD_backlight_on();
	}
}

/**
 * @brief  Handling when there is an alarm.
 * 			- Press BUTTON_INCREASE, BUTTON_REDUCE to exit alarm mode
 *
 * @note   This function should be called periodically in the main loop or a task.
 *
 */
void AlarmProcessing(void)
{
	while (flagAlarm)
	{
		LCD_backlight_on();

		uint32_t currentAlarmMillis = HAL_GetTick();
		static uint32_t previousAlarmMillis = 0;

		LCD_goto_XY(1, 4);
		LCD_send_string("WAKE UP!");
		LCD_goto_XY(2, 1);
		LCD_send_string("RISE AND SHINE");

		if (currentAlarmMillis - previousAlarmMillis >= (TIME_WAITING + ALARM_DELAY_TIME))
		{
			alarmSound();
			previousAlarmMillis = currentAlarmMillis;
		}
		else
		{
			if ((HAL_GPIO_ReadPin(GPIOA, BUTTON_INCREASE) == PRESS_BUTTON || HAL_GPIO_ReadPin(GPIOA, BUTTON_REDUCE) == PRESS_BUTTON))
			{
				HAL_Delay(40);
				while ((HAL_GPIO_ReadPin(GPIOA, BUTTON_INCREASE) == PRESS_BUTTON || HAL_GPIO_ReadPin(GPIOA, BUTTON_REDUCE) == PRESS_BUTTON));

				flagAlarm = 0;	// Clear Flag Alarm
				LCD_clear_display();
				HAL_Delay(40);

				break; // Break out of the loop
			}
		}

		if (HAL_GetTick() - alarmStartTime >= TIMEOUT_ALARM)
		{
			flagAlarm = 0;
			LCD_clear_display();
			HAL_Delay(40);

			break;
		}
	}
}
/* USER CODE END 4 */

void Error_Handler(void)
{
  __disable_irq();
  while (1)
  {
  }
}
